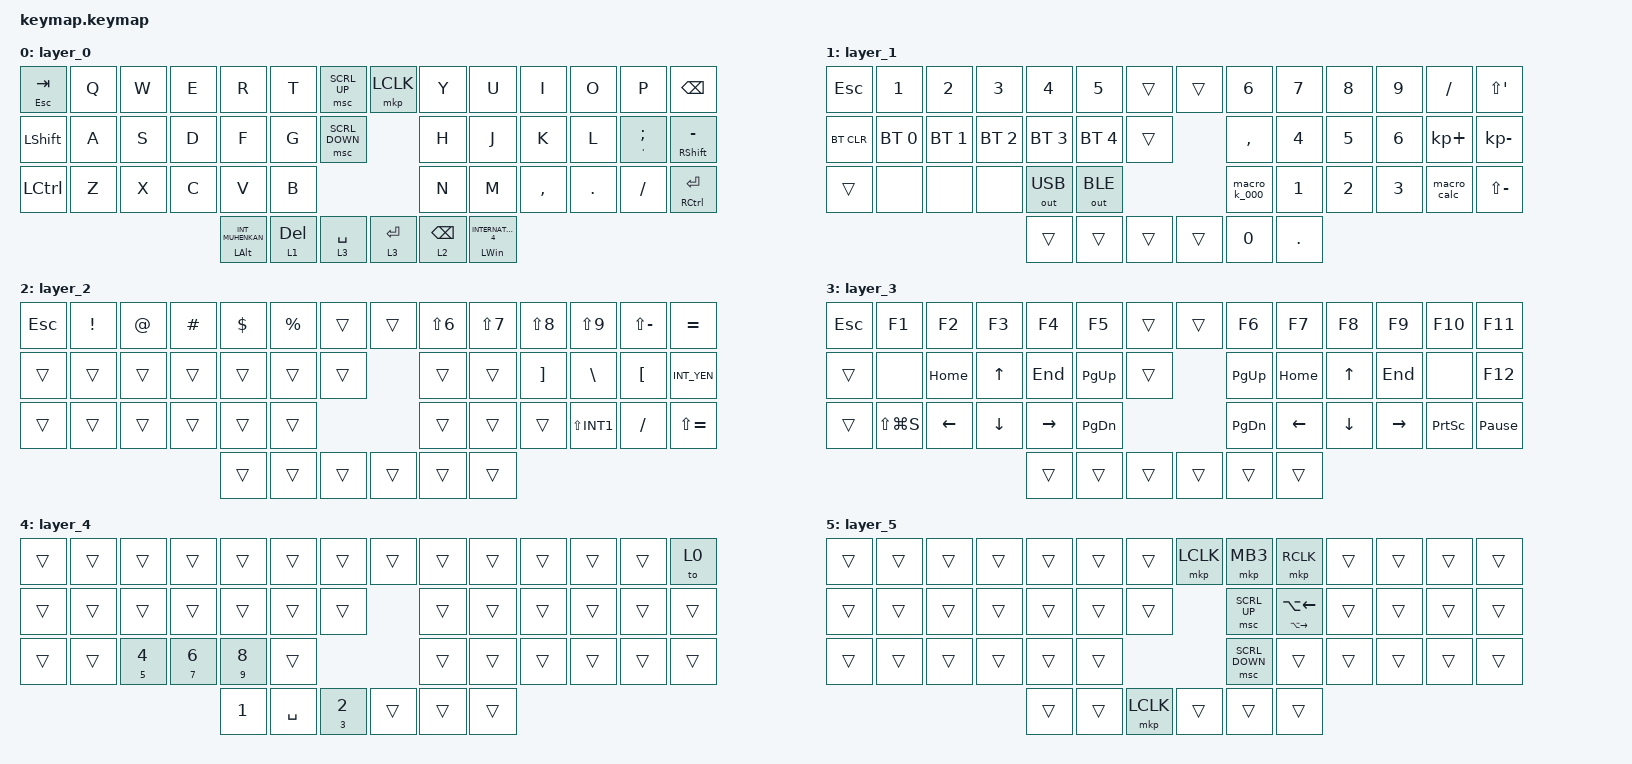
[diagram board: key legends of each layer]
#include <behaviors.dtsi>
#include <dt-bindings/zmk/bt.h>
#include <dt-bindings/zmk/keys.h>
#include <dt-bindings/zmk/outputs.h>
#include <dt-bindings/zmk/pointing.h>

/ {
    combos {
        compatible = "zmk,combos";

        GAME {
            bindings = <&to 4>;
            key-positions = <15 17 16>;
            layers = <1>;
        };
    };

    macros {
        macro_k_000: k_000 {
            compatible = "zmk,behavior-macro";
            #binding-cells = <0>;
            bindings = <&kp N0 &kp N0 &kp N0>;
            label = "K_000";
        };

        macro_calc: calc {
            compatible = "zmk,behavior-macro";
            #binding-cells = <0>;
            bindings =
                <&kp LG(R)>,
                <&macro_wait_time 100>,
                <&kp INTERNATIONAL_5 &kp C &kp A &kp L &kp C &kp RET>;

            label = "CALC";
        };
    };

    keymap {
        compatible = "zmk,keymap";

        layer_0 {
            bindings = <
&mt ESC TAB     &kp Q  &kp W  &kp E  &kp R                      &kp T         &msc SCRL_UP    &mkp LCLK    &kp Y            &kp U                         &kp I      &kp O    &kp P         &kp BACKSPACE
&kp LEFT_SHIFT  &kp A  &kp S  &kp D  &kp F                      &kp G         &msc SCRL_DOWN               &kp H            &kp J                         &kp K      &kp L    &mt SQT SEMI  &mt RIGHT_SHIFT MINUS
&kp LCTRL       &kp Z  &kp X  &kp C  &kp V                      &kp B                                      &kp N            &kp M                         &kp COMMA  &kp DOT  &kp FSLH      &mt RIGHT_CONTROL ENTER
                                     &mt LEFT_ALT INT_MUHENKAN  &lt 1 DELETE  &lt 3 SPACE     &lt 3 ENTER  &lt 2 BACKSPACE  &mt LEFT_WIN INTERNATIONAL_4
            >;
        };

        layer_1 {
            bindings = <
&kp ESCAPE  &kp N1        &kp N2        &kp N3        &kp N4        &kp N5        &trans  &trans  &kp N6        &kp N7   &kp N8  &kp N9  &kp SLASH    &kp LS(SQT)
&bt BT_CLR  &bt BT_SEL 0  &bt BT_SEL 1  &bt BT_SEL 2  &bt BT_SEL 3  &bt BT_SEL 4  &trans          &kp COMMA     &kp N4   &kp N5  &kp N6  &kp KP_PLUS  &kp KP_MINUS
&trans      &none         &none         &none         &out OUT_USB  &out OUT_BLE                  &macro_k_000  &kp N1   &kp N2  &kp N3  &macro_calc  &kp LS(MINUS)
                                                      &trans        &trans        &trans  &trans  &kp N0        &kp DOT
            >;
        };

        layer_2 {
            bindings = <
&kp ESCAPE  &kp EXCL  &kp AT  &kp HASH  &kp DLLR  &kp PRCNT  &trans  &trans  &kp LS(NUMBER_6)  &kp LS(N7)  &kp LS(N8)         &kp LS(N9)     &kp LS(MINUS)     &kp EQUAL
&trans      &trans    &trans  &trans    &trans    &trans     &trans          &trans            &trans      &kp RIGHT_BRACKET  &kp BACKSLASH  &kp LEFT_BRACKET  &kp INT_YEN
&trans      &trans    &trans  &trans    &trans    &trans                     &trans            &trans      &trans             &kp LS(INT1)   &kp SLASH         &kp LS(EQUAL)
                                        &trans    &trans     &trans  &trans  &trans            &trans
            >;
        };

        layer_3 {
            bindings = <
&kp ESCAPE  &kp F1         &kp F2          &kp F3          &kp F4           &kp F5         &trans  &trans  &kp F6         &kp F7          &kp F8          &kp F9           &kp F10          &kp F11
&trans      &none          &kp HOME        &kp UP_ARROW    &kp END          &kp PAGE_UP    &trans          &kp PG_UP      &kp HOME        &kp UP_ARROW    &kp END          &none            &kp F12
&trans      &kp LS(LG(S))  &kp LEFT_ARROW  &kp DOWN_ARROW  &kp RIGHT_ARROW  &kp PAGE_DOWN                  &kp PAGE_DOWN  &kp LEFT_ARROW  &kp DOWN_ARROW  &kp RIGHT_ARROW  &kp PRINTSCREEN  &kp PAUSE_BREAK
                                                           &trans           &trans         &trans  &trans  &trans         &trans
            >;
        };

        layer_4 {
            bindings = <
&trans  &trans  &trans           &trans           &trans        &trans     &trans                 &trans  &trans  &trans  &trans  &trans  &trans  &to 0
&trans  &trans  &trans           &trans           &trans        &trans     &trans                         &trans  &trans  &trans  &trans  &trans  &trans
&trans  &trans  &mt N5 NUMBER_4  &mt N7 NUMBER_6  &mt N9 N8     &trans                                    &trans  &trans  &trans  &trans  &trans  &trans
                                                  &kp NUMBER_1  &kp SPACE  &mt NUMBER_3 NUMBER_2  &trans  &trans  &trans
            >;
        };

        layer_5 {
            bindings = <
&trans  &trans  &trans  &trans  &trans  &trans  &trans     &mkp LCLK  &mkp MB3        &mkp RCLK                           &trans  &trans  &trans  &trans
&trans  &trans  &trans  &trans  &trans  &trans  &trans                &msc SCRL_UP    &mt LA(RIGHT_ARROW) LA(LEFT_ARROW)  &trans  &trans  &trans  &trans
&trans  &trans  &trans  &trans  &trans  &trans                        &msc SCRL_DOWN  &trans                              &trans  &trans  &trans  &trans
                                &trans  &trans  &mkp LCLK  &trans     &trans          &trans
            >;
        };
    };
};
